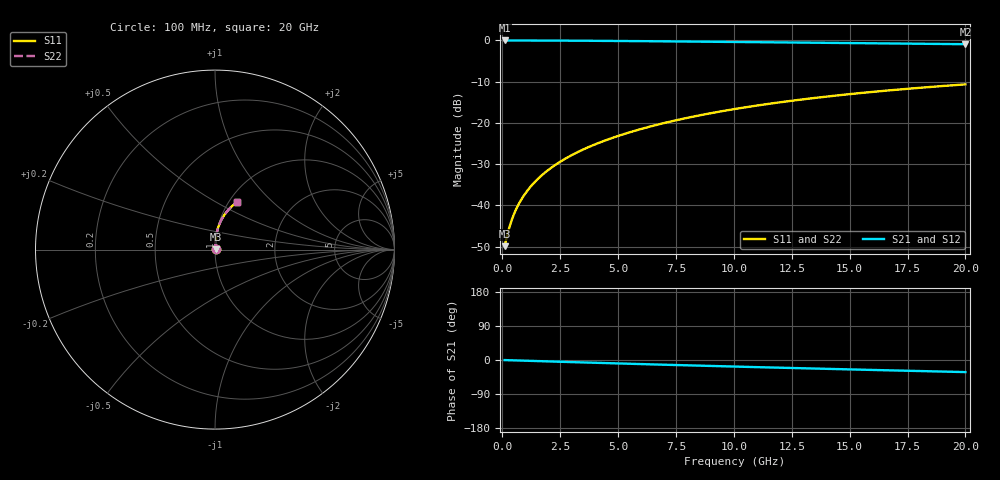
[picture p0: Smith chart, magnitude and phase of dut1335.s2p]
! Touchstone file exported from HFSS 2024.1.0
!  File:  C:/UserFiles/LocalFiles/RDL_TSV_Batchsim/temp_RDL_top_1335_1780365608.aedt
!  Generated:  10:02:14 AM Jun  2, 2026
!  Design:  RDL_top
!  Project:  temp_RDL_top_1335_1780365608
!  Setup:  Setup1
!  Solution:  Sweep
! Variables:
!  dtsv = 10.80580581um
!  hbump = 3um
!  htsv = 67.18um
!  ldown = 100um
!  lrdl = 457.34um
!  p = 40
!  p1 = 43.36um
!  rhole = 1um
!  t = 450um
!  tdown = 3.915915916um
!  trdl = 2.95um
!  wdown = 15.38538539um
!  wrdl = 21.33um
# GHz S MA R 50.000000
! Terminal data exported
! Port[1] = Box2_T1
! Port[2] = Box2_T2
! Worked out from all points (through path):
!   200 points, 100 MHz to 20 GHz, reference 50 ohm
!   highest |S21| = -0.02 dB at 100 MHz (marker M1); lowest = -0.9 dB at 20 GHz (marker M2)
!   group delay of S21, straight-line fit = 4.4 ps
!   lowest |S11| = -49.9 dB at 100 MHz (marker M3), VSWR 1.01, Z = 50.3 + j0.152 ohm
!   |S11| at or under -10 dB: start of sweep to end of sweep
!   |S22| runs from -49.9 to -10.7 dB; largest |S21 - S12| = 3.7e-15
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0.1  0.003192 28.2  0.9972 -0.2  0.9972 -0.2  0.003192 28.2
! Gamma 0 0 0 0
! Port Impedance 50 0 50 0
0.3  0.005333 55.1  0.9969 -0.6  0.9969 -0.6  0.005333 55.1
0.4  0.006545 60.9  0.9967 -0.8  0.9967 -0.8  0.006545 60.9
0.5  0.007767 65.0  0.9966 -1.0  0.9966 -1.0  0.007767 65.0
0.6  0.008995 68.0  0.9964 -1.1  0.9964 -1.1  0.008995 68.0
0.8  0.01147 72.3  0.9961 -1.5  0.9961 -1.5  0.01147 72.3
1  0.01399 75.2  0.9958 -1.9  0.9958 -1.9  0.01399 75.2
1.2  0.01653 77.4  0.9955 -2.3  0.9955 -2.3  0.01653 77.4
1.4  0.01911 79.0  0.9952 -2.6  0.9952 -2.6  0.01911 79.0
1.7  0.02303 80.7  0.9946 -3.2  0.9946 -3.2  0.02303 80.7
2.2  0.02968 82.6  0.9935 -4.1  0.9935 -4.1  0.02968 82.6
2.8  0.03783 83.9  0.9918 -5.2  0.9918 -5.2  0.03783 83.9
3.5  0.04758 84.7  0.9894 -6.5  0.9894 -6.5  0.04757 84.7
4.2  0.05757 85.0  0.9867 -7.7  0.9867 -7.7  0.05756 85.0
5  0.06927 84.9  0.9831 -9.1  0.9831 -9.1  0.06925 84.9
6.8  0.09649 83.8  0.9742 -12.2  0.9742 -12.2  0.09644 83.8
8.4  0.1214 82.1  0.9655 -14.8  0.9655 -14.8  0.1213 82.1
10.1  0.148 79.9  0.9559 -17.5  0.9559 -17.5  0.1479 79.9
11.7  0.1729 77.6  0.9467 -19.9  0.9467 -19.9  0.1728 77.5
13.4  0.1989 75.0  0.9369 -22.5  0.9369 -22.5  0.1988 75.0
16.7  0.2474 69.9  0.9178 -27.3  0.9178 -27.3  0.2472 69.9
20  0.2925 65.0  0.8985 -31.9  0.8985 -31.9  0.2923 64.9
